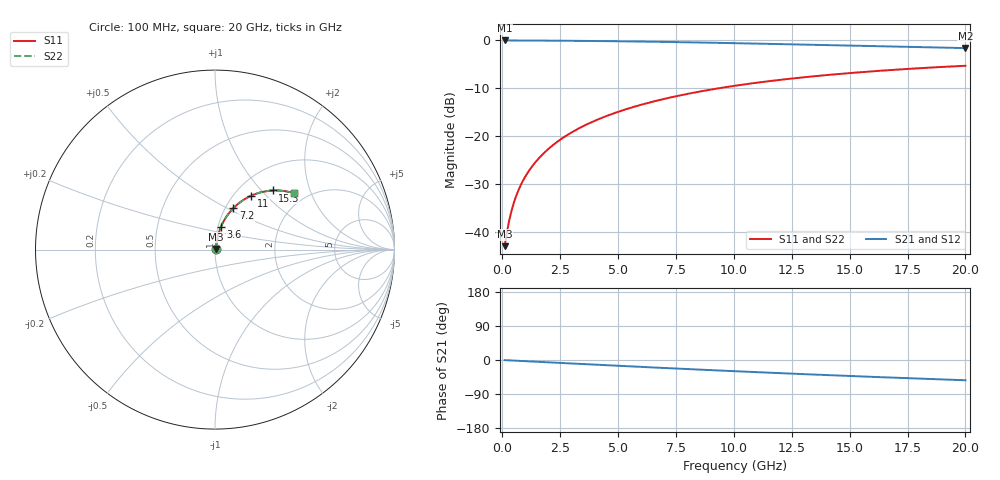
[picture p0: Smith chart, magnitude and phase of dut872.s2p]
! Touchstone file exported from HFSS 2026.1.0
!  File:  C:/ffzhzh/LocalFiles/Ansys_Project_Files/temp_train_TMRDL_872_1783157323_18472.aedt
!  Generated:  05:30:09 PM Jul  4, 2026
!  Design:  TMRDL
!  Project:  temp_train_TMRDL_872_1783157323_18472
! Variables:
!  h_bsmrdl = 2um
!  h_ox = 20um
!  h_rdl = 5um
!  h_sub = 80um
!  h_tmrdl = 2.44um
!  h_tsv = 80um
!  h_via = 3um
!  l_bsmrdl = 300um
!  l_sub = 1149.93um
!  l_tmrdl = 749.93um
!  m_sub = 200um
!  pitch = 55.86um
!  r_tsv = 6um
!  s_tmrdl = 10um
!  w_bsmrdl = 18um
!  w_sub = 500um
!  w_tmrdl = 18.66um
!  x_tsv_center1 = 759.26um
!  x_tsv_center2 = 1077.26um
!  x_tsv_center3 = 1845.85um
!  x_tsv_center4 = 2163.85um
!  x_tsv_center5 = 2932.44um
!  x_tsv_center6 = 3250.44um
# GHz S MA R 50.000000
! Terminal data exported
! Port[1] = TM_RDL1_1_T1
! Port[2] = TM_RDL1_1_T2
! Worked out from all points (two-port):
!   200 points, 100 MHz to 20 GHz, reference 50 ohm
!   highest |S21| = -0.05 dB at 100 MHz (marker M1); lowest = -1.6 dB at 20 GHz (marker M2)
!   |S21| within 3 dB of the highest: start of sweep to end of sweep
!   lowest |S11| = -42.9 dB at 100 MHz (marker M3), VSWR 1.01, Z = 50.6 + j0.396 ohm
!   |S11| at or under -10 dB: start of sweep to 9.358 GHz
!   |S22| runs from -42.9 to -5.3 dB; largest |S21 - S12| = 9.5e-15
!   S11 on the Smith chart (normalised r, x): 100 MHz: 1.01, +0.01; 3.6 GHz: 1.03, +0.27; 7.2 GHz: 1.09, +0.53; 11 GHz: 1.19, +0.82; 15.3 GHz: 1.39, +1.16; 20 GHz: 1.73, +1.53
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0.1  0.007171 33.0  0.994 -0.3  0.994 -0.3  0.007171 33.0
! Gamma 0 0 0 0
! Port Impedance 50 0 50 0
0.2  0.009944 51.5  0.9939 -0.6  0.9939 -0.6  0.009944 51.5
0.3  0.01327 60.9  0.9937 -1.0  0.9937 -1.0  0.01327 60.9
0.4  0.01678 66.2  0.9934 -1.3  0.9934 -1.3  0.01678 66.2
0.5  0.02034 69.5  0.9932 -1.6  0.9932 -1.6  0.02034 69.5
0.6  0.02392 71.7  0.993 -1.9  0.993 -1.9  0.02392 71.7
0.8  0.03107 74.4  0.9925 -2.5  0.9925 -2.5  0.03107 74.4
1.1  0.04181 76.5  0.9919 -3.4  0.9919 -3.4  0.04181 76.5
1.6  0.05975 77.8  0.9907 -5.0  0.9907 -5.0  0.05975 77.8
2.1  0.07771 77.8  0.9893 -6.5  0.9893 -6.5  0.07771 77.8
2.7  0.09918 77.1  0.9872 -8.3  0.9872 -8.3  0.09918 77.1
3.5  0.1275 75.6  0.9837 -10.8  0.9837 -10.8  0.1275 75.6
3.6  0.1311 75.4  0.9832 -11.1  0.9832 -11.1  0.1311 75.4
5  0.1795 72.0  0.9752 -15.3  0.9752 -15.3  0.1795 72.0
6.8  0.2388 67.2  0.9618 -20.5  0.9618 -20.5  0.2388 67.2
7.2  0.2515 66.2  0.9584 -21.7  0.9584 -21.7  0.2515 66.2
10.1  0.337 58.5  0.931 -29.7  0.931 -29.7  0.337 58.5
11  0.3612 56.1  0.9216 -32.1  0.9216 -32.1  0.3612 56.2
13.4  0.42 50.1  0.8959 -38.3  0.8959 -38.3  0.4199 50.2
15.3  0.4608 45.6  0.8755 -42.9  0.8755 -42.9  0.4608 45.6
16.7  0.4878 42.4  0.8606 -46.2  0.8606 -46.2  0.4878 42.4
20  0.5419 35.3  0.8278 -53.4  0.8278 -53.4  0.5419 35.3
